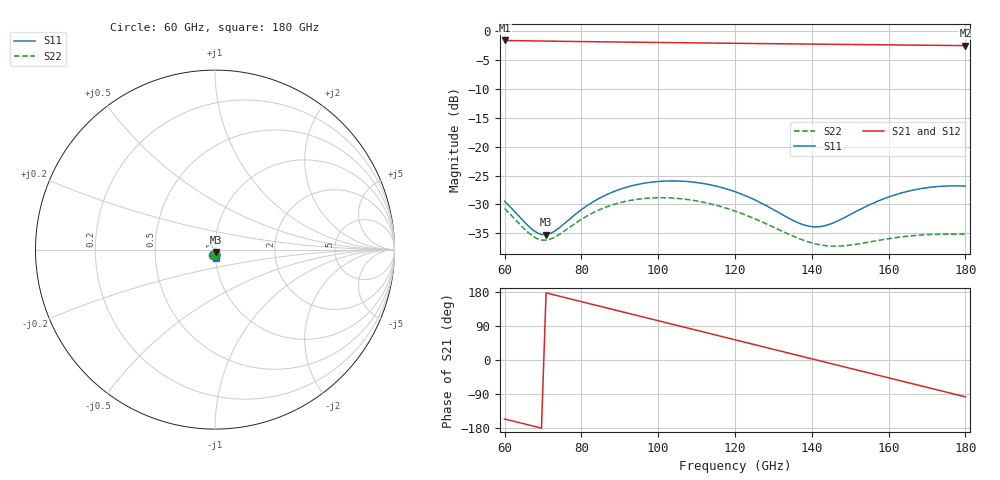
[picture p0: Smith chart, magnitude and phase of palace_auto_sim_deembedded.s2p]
! Created with skrf 1.11.0 (http://scikit-rf.org).
# GHz S DB R 50.0
!freq dBS11 angS11 dBS21 angS21 dBS12 angS12 dBS22 angS22
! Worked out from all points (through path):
!   101 points, 60 GHz to 180 GHz, reference 50 ohm
!   highest |S21| = -1.62 dB at 60 GHz (marker M1); lowest = -2.5 dB at 180 GHz (marker M2)
!   group delay of S21, straight-line fit = 6.98 ps
!   lowest |S11| = -35.2 dB at 70.8 GHz (marker M3), VSWR 1.04, Z = 50.6 - j1.63 ohm
!   |S11| at or under -10 dB: start of sweep to end of sweep
!   |S22| runs from -37.2 to -28.8 dB; largest |S21 - S12| = 8.6e-14
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60  -29.45 -106.1  -1.62 -155.6  -1.62 -155.6  -30.70 -101.2
67.2  -34.32 -90.0  -1.70 -173.8  -1.70 -173.8  -35.41 -83.8
70.8  -35.23 -68.5  -1.73 177.1  -1.73 177.1  -36.18 -63.9
73.2  -34.54 -55.1  -1.75 171.1  -1.75 171.1  -35.61 -52.0
80.4  -30.71 -40.7  -1.82 153.0  -1.82 153.0  -32.41 -38.7
85.2  -28.74 -43.1  -1.86 140.9  -1.86 140.9  -30.77 -40.7
91.2  -27.12 -50.7  -1.90 125.8  -1.90 125.8  -29.50 -47.5
100.8  -25.99 -66.4  -1.98 101.6  -1.98 101.6  -28.83 -61.9
105.6  -25.95 -74.7  -2.01 89.6  -2.01 89.6  -28.99 -69.3
110.4  -26.23 -82.7  -2.05 77.5  -2.05 77.5  -29.43 -76.5
120  -27.79 -96.4  -2.11 53.4  -2.11 53.4  -31.14 -88.6
126  -29.48 -101.4  -2.15 38.3  -2.15 38.3  -32.72 -93.0
130.8  -31.18 -101.2  -2.19 26.2  -2.19 26.2  -34.17 -93.7
136.8  -33.27 -91.9  -2.23 11.2  -2.23 11.2  -35.93 -89.6
140.4  -33.87 -81.2  -2.25 2.1  -2.25 2.1  -36.72 -84.5
144  -33.57 -70.0  -2.28 -6.9  -2.28 -6.9  -37.15 -78.3
150  -31.75 -58.8  -2.32 -22.0  -2.32 -22.0  -37.04 -69.1
154.8  -30.13 -57.1  -2.35 -34.0  -2.35 -34.0  -36.52 -64.9
160.8  -28.53 -60.5  -2.39 -49.1  -2.39 -49.1  -35.85 -63.4
170.4  -27.06 -71.3  -2.45 -73.1  -2.45 -73.1  -35.21 -65.7
175.2  -26.80 -77.6  -2.48 -85.2  -2.48 -85.2  -35.12 -67.5
180  -26.83 -83.7  -2.51 -97.2  -2.51 -97.2  -35.13 -69.1
